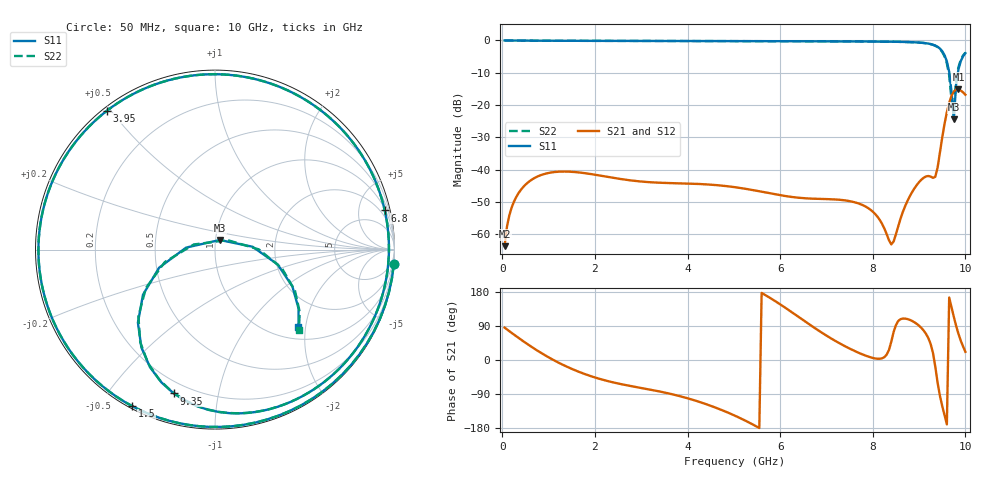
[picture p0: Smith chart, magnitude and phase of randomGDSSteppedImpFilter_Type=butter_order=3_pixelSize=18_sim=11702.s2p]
! freq	dB(S11)	phase(S11)	dB(S12)	phase(S12)
!  dB(S21)	phase(S21)	dB(S22)	phase(S22)
!S-par simulation data
#  GHz  S  DB  R 50
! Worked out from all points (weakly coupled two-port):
!   200 points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, 50 MHz to 10 GHz, reference 50 ohm
!   highest |S21| = -15.17 dB at 9.85 GHz (marker M1); lowest = -63.7 dB at 50 MHz (marker M2)
!   lowest |S11| = -24.5 dB at 9.75 GHz (marker M3), VSWR 1.13, Z = 52.4 + j5.63 ohm
!   |S11| at or under -10 dB: 9.652 GHz to 9.838 GHz (186 MHz wide, 1.91 % of centre)
!   |S22| runs from -21.1 to 0.0 dB; largest |S21 - S12| = 0
!   S11 on the Smith chart (normalised r, x): 50 MHz: 0, -25; 1.5 GHz: 0.01, -0.60; 3.95 GHz: 0.01, +0.49; 6.8 GHz: 1.14, +8.64; 9.35 GHz: 0.14, -0.74; 10 GHz: 1.27, -1.83
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0.05  -0.00 -4.6  -63.70 85.4  -63.70 85.4  -0.00 -4.6
0.2  -0.03 -18.3  -51.83 71.7  -51.83 71.7  -0.03 -18.3
0.45  -0.05 -40.3  -45.41 49.8  -45.41 49.8  -0.05 -40.3
0.95  -0.09 -80.7  -41.18 10.6  -41.18 10.6  -0.09 -80.6
1.5  -0.12 -117.8  -40.67 -23.4  -40.67 -23.4  -0.12 -117.8
1.75  -0.12 -132.5  -41.03 -35.7  -41.03 -35.7  -0.12 -132.4
2.5  -0.14 -170.6  -42.77 -62.0  -42.77 -62.0  -0.14 -170.6
3.4  -0.16 150.2  -44.06 -83.1  -44.06 -83.1  -0.16 150.3
3.95  -0.17 127.8  -44.29 -99.2  -44.29 -99.2  -0.17 127.8
5.05  -0.20 83.5  -45.49 -148.4  -45.49 -148.4  -0.20 83.6
6.7  -0.25 17.0  -48.99 88.2  -48.99 88.2  -0.25 17.0
6.8  -0.26 13.0  -49.04 80.0  -49.04 80.0  -0.26 13.0
7.85  -0.32 -28.3  -51.48 11.3  -51.48 11.3  -0.32 -28.3
8.35  -0.38 -48.3  -61.85 26.6  -61.85 26.6  -0.38 -48.4
8.45  -0.40 -52.5  -62.25 73.9  -62.25 73.9  -0.40 -52.5
8.95  -0.60 -75.9  -44.76 95.3  -44.76 95.3  -0.61 -76.2
9.35  -1.58 -106.0  -42.21 -17.5  -42.21 -17.5  -1.66 -107.1
9.6  -6.50 -147.9  -22.20 -169.9  -22.20 -169.9  -7.13 -150.9
9.75  -24.47 63.7  -15.81 113.9  -15.81 113.9  -21.10 36.8
9.8  -13.58 4.4  -15.21 90.1  -15.21 90.1  -12.22 0.2
9.85  -8.93 -13.2  -15.17 69.1  -15.17 69.1  -8.25 -15.6
10  -3.96 -42.8  -16.82 21.6  -16.82 21.6  -3.78 -43.8
